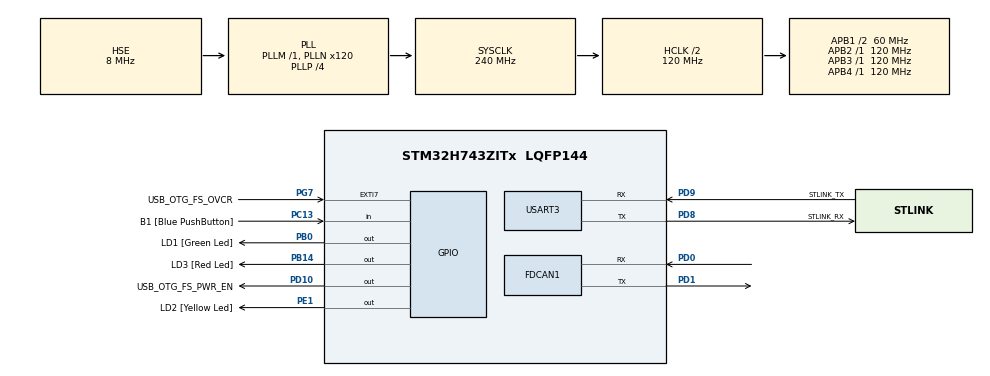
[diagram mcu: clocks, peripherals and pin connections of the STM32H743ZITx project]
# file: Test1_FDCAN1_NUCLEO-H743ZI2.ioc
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Mcu.Family=STM32H7
RCC.CortexFreq_Value=240000000
RCC.HPRE=RCC_HCLK_DIV2
PH0-OSC_IN\ (PH0).Signal=RCC_OSC_IN
PB14.GPIO_Label=LD3 [Red Led]
PC15-OSC32_OUT\ (OSC32_OUT).Mode=LSE-External-Oscillator
RCC.PLLFRACN=0
PB0.GPIO_Label=LD1 [Green Led]
RCC.PLL2FRACN=0
PC13.GPIO_Label=B1 [Blue PushButton]
PD9.Mode=Asynchronous
RCC.SYSCLKSource=RCC_SYSCLKSOURCE_PLLCLK
ProjectManager.StackSize=0x400
USART3.VirtualMode-Asynchronous=VM_ASYNC
RCC.HCLKFreq_Value=120000000
FDCAN1.RxFifo1ElmtSize=FDCAN_DATA_BYTES_64
PD0.Signal=FDCAN1_RX
PD8.Signal=USART3_TX
FDCAN1.FrameFormat=FDCAN_FRAME_FD_NO_BRS
PE1.Signal=GPIO_Output
RCC.HSE_VALUE=8000000
RCC.DIVM2=1
RCC.DIVM1=1
FDCAN1.StdFiltersNbr=1
FDCAN1.RxBufferSize=FDCAN_DATA_BYTES_64
PD1.GPIO_Speed=GPIO_SPEED_FREQ_VERY_HIGH
FDCAN1.NominalPrescaler=1
FDCAN1.NominalTimeSeg2=2
FDCAN1.NominalTimeSeg1=7
RCC.APB3Freq_Value=120000000
Mcu.Package=LQFP144
RCC.PLL3FRACN=0
FDCAN1.RxFifo0ElmtsNbr=2
PC14-OSC32_IN\ (OSC32_IN).Mode=LSE-External-Oscillator
RCC.APB4Freq_Value=120000000
PH0-OSC_IN\ (PH0).Mode=HSE-External-Clock-Source
NVIC.FDCAN1_IT0_IRQn=true\:0\:0\:false\:false\:true\:true\:true
RCC.PLLSourceVirtual=RCC_PLLSOURCE_HSE
RCC.DIVQ2=4
RCC.DIVQ1=24
PG7.Signal=GPXTI7
PD9.GPIO_Label=STLINK_TX
PC13.Signal=GPIO_Input
FDCAN1.ProtocolException=ENABLE
PD1.Signal=FDCAN1_TX
RCC.D2PPRE1=RCC_APB1_DIV2
PD9.Signal=USART3_RX
FDCAN1.RxFifo0ElmtSize=FDCAN_DATA_BYTES_64
RCC.DIVP1=4
RCC.PWR_Regulator_Voltage_Scale=PWR_REGULATOR_VOLTAGE_SCALE2
PH1-OSC_OUT\ (PH1).Signal=RCC_OSC_OUT
PD0.GPIO_Speed=GPIO_SPEED_FREQ_VERY_HIGH
PD8.GPIO_Label=STLINK_RX
PD10.Signal=GPIO_Output
ProjectManager.TargetToolchain=STM32CubeIDE
PC15-OSC32_OUT\ (OSC32_OUT).Signal=RCC_OSC32_OUT
RCC.DIVN2=20
RCC.DIVN1=120
RCC.USBFreq_Value=40000000
PD10.GPIO_Label=USB_OTG_FS_PWR_EN
PD8.Mode=Asynchronous
PB14.Signal=GPIO_Output
board=NUCLEO-H743ZI2
PE1.GPIO_Label=LD2 [Yellow Led]
PD1.Mode=FDCAN_Activate
FDCAN1.AutoRetransmission=ENABLE
RCC.APB2Freq_Value=120000000
PG7.GPIO_Label=USB_OTG_FS_OVCR
RCC.ADCFreq_Value=80000000
Mcu.Name=STM32H743ZITx
PD0.Mode=FDCAN_Activate
FDCAN1.NominalSyncJumpWidth=1
RCC.SYSCLKFreq_VALUE=240000000
PC14-OSC32_IN\ (OSC32_IN).Signal=RCC_OSC32_IN
ProjectManager.HeapSize=0x200
NVIC.PriorityGroup=NVIC_PRIORITYGROUP_4
RCC.APB1Freq_Value=60000000
PB0.Signal=GPIO_Output
FDCAN1.TxFifoQueueElmtsNbr=2
FDCAN1.TxElmtSize=FDCAN_DATA_BYTES_64

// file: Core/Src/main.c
/* USER CODE BEGIN Header */
/**
  ******************************************************************************
  * @file           : main.c
  * @brief          : Main program body
  ******************************************************************************
  * @attention
  *
  * <h2><center>&copy; Copyright (c) 2021 STMicroelectronics.
  * All rights reserved.</center></h2>
  *
  * This software component is licensed by ST under BSD 3-Clause license,
  * the "License"; You may not use this file except in compliance with the
  * License. You may obtain a copy of the License at:
  *                        opensource.org/licenses/BSD-3-Clause
  *
  ******************************************************************************
  */
/* USER CODE END Header */
#include "main.h"

/* USER CODE BEGIN PTD */
#define ELEMS(p) (sizeof(p)/sizeof(p[0]))
/* USER CODE END PTD */

FDCAN_HandleTypeDef hfdcan1;

UART_HandleTypeDef huart3;

/* USER CODE BEGIN PV */

volatile unsigned long int Licznikms;
volatile uint16_t Timer_sys[6];
volatile unsigned long int uwTickms;
volatile unsigned int Tickms;
//volatile unsigned long int Ticks;
volatile unsigned long int g_COUNT_SEC;

uint32_t g_CAN_Error;
HAL_FDCAN_StateTypeDef g_CAN_State;
FDCAN_RxHeaderTypeDef RxHeader;
uint8_t RxData[64];
FDCAN_TxHeaderTypeDef TxHeader;
uint8_t TxData[64];

HAL_StatusTypeDef myState;
uint8_t myTxData[64];
uint32_t my_Data_Can;

/* USER CODE END PV */

void SystemClock_Config(void);
static void MX_GPIO_Init(void);
static void MX_USART3_UART_Init(void);
static void MX_FDCAN1_Init(void);

int main(void)
{

  /* MCU Configuration--------------------------------------------------------*/

  /* Reset of all peripherals, Initializes the Flash interface and the Systick. */
  HAL_Init();

  /* Configure the system clock */
  SystemClock_Config();

  /* Initialize all configured peripherals */
  MX_GPIO_Init();
  MX_USART3_UART_Init();
  MX_FDCAN1_Init();

  /* Infinite loop */
  while (1)
  {

    /* USER CODE BEGIN 3 */
	  if (Timer_sys[1] == 0)
	  {
		 Timer_sys[1] = 100;
		 HAL_GPIO_TogglePin(LD2_GPIO_Port,LD2_Pin);
		  my_Data_Can++;
		  myTxData[0] = my_Data_Can;
		  myTxData[1] = my_Data_Can >> 8;
		  myTxData[2] = my_Data_Can >> 16;
		  myTxData[3] = my_Data_Can >> 24;
		  myTxData[63]++;
		  HAL_FDCAN_AddMessageToTxFifoQ(&hfdcan1, &TxHeader, myTxData);
		  g_CAN_Error = HAL_FDCAN_GetError(&hfdcan1);
		  g_CAN_State = HAL_FDCAN_GetState(&hfdcan1);
		  if (g_CAN_Error != 0) HAL_GPIO_TogglePin(LD3_GPIO_Port,LD3_Pin);

	  }
  }
  /* USER CODE END 3 */
}

void SystemClock_Config(void)
{
  RCC_OscInitTypeDef RCC_OscInitStruct = {0};
  RCC_ClkInitTypeDef RCC_ClkInitStruct = {0};

  /** Supply configuration update enable
  */
  HAL_PWREx_ConfigSupply(PWR_LDO_SUPPLY);
  /** Configure the main internal regulator output voltage
  */
  __HAL_PWR_VOLTAGESCALING_CONFIG(PWR_REGULATOR_VOLTAGE_SCALE2);

  while(!__HAL_PWR_GET_FLAG(PWR_FLAG_VOSRDY)) {}
  /** Initializes the RCC Oscillators according to the specified parameters
  * in the RCC_OscInitTypeDef structure.
  */
  RCC_OscInitStruct.OscillatorType = RCC_OSCILLATORTYPE_HSE;
  RCC_OscInitStruct.HSEState = RCC_HSE_BYPASS;
  RCC_OscInitStruct.PLL.PLLState = RCC_PLL_ON;
  RCC_OscInitStruct.PLL.PLLSource = RCC_PLLSOURCE_HSE;
  RCC_OscInitStruct.PLL.PLLM = 1;
  RCC_OscInitStruct.PLL.PLLN = 120;
  RCC_OscInitStruct.PLL.PLLP = 4;
  RCC_OscInitStruct.PLL.PLLQ = 24;
  RCC_OscInitStruct.PLL.PLLR = 2;
  RCC_OscInitStruct.PLL.PLLRGE = RCC_PLL1VCIRANGE_3;
  RCC_OscInitStruct.PLL.PLLVCOSEL = RCC_PLL1VCOWIDE;
  RCC_OscInitStruct.PLL.PLLFRACN = 0;
  if (HAL_RCC_OscConfig(&RCC_OscInitStruct) != HAL_OK)
  {
    Error_Handler();
  }
  /** Initializes the CPU, AHB and APB buses clocks
  */
  RCC_ClkInitStruct.ClockType = RCC_CLOCKTYPE_HCLK|RCC_CLOCKTYPE_SYSCLK
                              |RCC_CLOCKTYPE_PCLK1|RCC_CLOCKTYPE_PCLK2
                              |RCC_CLOCKTYPE_D3PCLK1|RCC_CLOCKTYPE_D1PCLK1;
  RCC_ClkInitStruct.SYSCLKSource = RCC_SYSCLKSOURCE_PLLCLK;
  RCC_ClkInitStruct.SYSCLKDivider = RCC_SYSCLK_DIV1;
  RCC_ClkInitStruct.AHBCLKDivider = RCC_HCLK_DIV2;
  RCC_ClkInitStruct.APB3CLKDivider = RCC_APB3_DIV1;
  RCC_ClkInitStruct.APB1CLKDivider = RCC_APB1_DIV2;
  RCC_ClkInitStruct.APB2CLKDivider = RCC_APB2_DIV1;
  RCC_ClkInitStruct.APB4CLKDivider = RCC_APB4_DIV1;

  if (HAL_RCC_ClockConfig(&RCC_ClkInitStruct, FLASH_LATENCY_2) != HAL_OK)
  {
    Error_Handler();
  }
}

static void MX_FDCAN1_Init(void)
{

  hfdcan1.Instance = FDCAN1;
  hfdcan1.Init.FrameFormat = FDCAN_FRAME_FD_NO_BRS;
  hfdcan1.Init.Mode = FDCAN_MODE_NORMAL;
  hfdcan1.Init.AutoRetransmission = ENABLE;
  hfdcan1.Init.TransmitPause = DISABLE;
  hfdcan1.Init.ProtocolException = ENABLE;
  hfdcan1.Init.NominalPrescaler = 1;
  hfdcan1.Init.NominalSyncJumpWidth = 1;
  hfdcan1.Init.NominalTimeSeg1 = 7;
  hfdcan1.Init.NominalTimeSeg2 = 2;
  hfdcan1.Init.DataPrescaler = 1;
  hfdcan1.Init.DataSyncJumpWidth = 1;
  hfdcan1.Init.DataTimeSeg1 = 1;
  hfdcan1.Init.DataTimeSeg2 = 1;
  hfdcan1.Init.MessageRAMOffset = 0;
  hfdcan1.Init.StdFiltersNbr = 1;
  hfdcan1.Init.ExtFiltersNbr = 0;
  hfdcan1.Init.RxFifo0ElmtsNbr = 1;
  hfdcan1.Init.RxFifo0ElmtSize = FDCAN_DATA_BYTES_64;
  hfdcan1.Init.RxFifo1ElmtsNbr = 0;
  hfdcan1.Init.RxFifo1ElmtSize = FDCAN_DATA_BYTES_64;
  hfdcan1.Init.RxBuffersNbr = 0;
  hfdcan1.Init.RxBufferSize = FDCAN_DATA_BYTES_64;
  hfdcan1.Init.TxEventsNbr = 0;
  hfdcan1.Init.TxBuffersNbr = 0;
  hfdcan1.Init.TxFifoQueueElmtsNbr = 1;
  hfdcan1.Init.TxFifoQueueMode = FDCAN_TX_FIFO_OPERATION;
  hfdcan1.Init.TxElmtSize = FDCAN_DATA_BYTES_64;
  if (HAL_FDCAN_Init(&hfdcan1) != HAL_OK)
  {
    Error_Handler();
  }
  /* USER CODE BEGIN FDCAN1_Init 2 */

  FDCAN_FilterTypeDef sFilterConfig;

  /* Configure Rx filter */
  sFilterConfig.IdType = FDCAN_STANDARD_ID;
  sFilterConfig.FilterIndex = 0;
  sFilterConfig.FilterType = FDCAN_FILTER_MASK;
  sFilterConfig.FilterConfig = FDCAN_FILTER_TO_RXFIFO0;
  sFilterConfig.FilterID1 = 0x222;
  sFilterConfig.FilterID2 = 0x7FF;
  if (HAL_FDCAN_ConfigFilter(&hfdcan1, &sFilterConfig) != HAL_OK)
  {
    /* Filter configuration Error */
    Error_Handler();
  }

  /* Configure global filter to reject all non-matching frames */
  HAL_FDCAN_ConfigGlobalFilter(&hfdcan1, FDCAN_REJECT, FDCAN_REJECT, FDCAN_REJECT_REMOTE, FDCAN_REJECT_REMOTE);

  /* Configure Rx FIFO 0 watermark to 2 */
  HAL_FDCAN_ConfigFifoWatermark(&hfdcan1, FDCAN_CFG_RX_FIFO0, 1);

  /* Activate Rx FIFO 0 watermark notification */
  if (HAL_FDCAN_ActivateNotification(&hfdcan1, FDCAN_IT_RX_FIFO0_WATERMARK, 0) != HAL_OK)
  {
    /* Notification Error */
    Error_Handler();
  }

  /* Prepare Tx Header */
  TxHeader.Identifier = 0x111;
  TxHeader.IdType = FDCAN_STANDARD_ID;
  TxHeader.TxFrameType = FDCAN_DATA_FRAME;
  TxHeader.DataLength = FDCAN_DLC_BYTES_64;
  TxHeader.ErrorStateIndicator = FDCAN_ESI_ACTIVE;
  TxHeader.BitRateSwitch = FDCAN_BRS_OFF;
  TxHeader.FDFormat = FDCAN_FD_CAN;
  TxHeader.TxEventFifoControl = FDCAN_NO_TX_EVENTS;
  TxHeader.MessageMarker = 0;

   /* Start the FDCAN module */
  if (HAL_FDCAN_Start(&hfdcan1) != HAL_OK)
  {
    /* Start Error */
    Error_Handler();
  }

  /* USER CODE END FDCAN1_Init 2 */

}

static void MX_USART3_UART_Init(void)
{

  huart3.Instance = USART3;
  huart3.Init.BaudRate = 115200;
  huart3.Init.WordLength = UART_WORDLENGTH_8B;
  huart3.Init.StopBits = UART_STOPBITS_1;
  huart3.Init.Parity = UART_PARITY_NONE;
  huart3.Init.Mode = UART_MODE_TX_RX;
  huart3.Init.HwFlowCtl = UART_HWCONTROL_NONE;
  huart3.Init.OverSampling = UART_OVERSAMPLING_16;
  huart3.Init.OneBitSampling = UART_ONE_BIT_SAMPLE_DISABLE;
  huart3.Init.ClockPrescaler = UART_PRESCALER_DIV1;
  huart3.AdvancedInit.AdvFeatureInit = UART_ADVFEATURE_NO_INIT;
  if (HAL_UART_Init(&huart3) != HAL_OK)
  {
    Error_Handler();
  }
  if (HAL_UARTEx_SetTxFifoThreshold(&huart3, UART_TXFIFO_THRESHOLD_1_8) != HAL_OK)
  {
    Error_Handler();
  }
  if (HAL_UARTEx_SetRxFifoThreshold(&huart3, UART_RXFIFO_THRESHOLD_1_8) != HAL_OK)
  {
    Error_Handler();
  }
  if (HAL_UARTEx_DisableFifoMode(&huart3) != HAL_OK)
  {
    Error_Handler();
  }

}

static void MX_GPIO_Init(void)
{
  GPIO_InitTypeDef GPIO_InitStruct = {0};

  /* GPIO Ports Clock Enable */
  __HAL_RCC_GPIOC_CLK_ENABLE();
  __HAL_RCC_GPIOH_CLK_ENABLE();
  __HAL_RCC_GPIOB_CLK_ENABLE();
  __HAL_RCC_GPIOD_CLK_ENABLE();
  __HAL_RCC_GPIOG_CLK_ENABLE();
  __HAL_RCC_GPIOE_CLK_ENABLE();

  /*Configure GPIO pin Output Level */
  HAL_GPIO_WritePin(GPIOB, LD1_Pin|LD3_Pin, GPIO_PIN_RESET);

  /*Configure GPIO pin Output Level */
  HAL_GPIO_WritePin(USB_OTG_FS_PWR_EN_GPIO_Port, USB_OTG_FS_PWR_EN_Pin, GPIO_PIN_RESET);

  /*Configure GPIO pin Output Level */
  HAL_GPIO_WritePin(LD2_GPIO_Port, LD2_Pin, GPIO_PIN_RESET);

  /*Configure GPIO pin : B1_Pin */
  GPIO_InitStruct.Pin = B1_Pin;
  GPIO_InitStruct.Mode = GPIO_MODE_INPUT;
  GPIO_InitStruct.Pull = GPIO_NOPULL;
  HAL_GPIO_Init(B1_GPIO_Port, &GPIO_InitStruct);

  /*Configure GPIO pins : LD1_Pin LD3_Pin */
  GPIO_InitStruct.Pin = LD1_Pin|LD3_Pin;
  GPIO_InitStruct.Mode = GPIO_MODE_OUTPUT_PP;
  GPIO_InitStruct.Pull = GPIO_NOPULL;
  GPIO_InitStruct.Speed = GPIO_SPEED_FREQ_LOW;
  HAL_GPIO_Init(GPIOB, &GPIO_InitStruct);

  /*Configure GPIO pin : USB_OTG_FS_PWR_EN_Pin */
  GPIO_InitStruct.Pin = USB_OTG_FS_PWR_EN_Pin;
  GPIO_InitStruct.Mode = GPIO_MODE_OUTPUT_PP;
  GPIO_InitStruct.Pull = GPIO_NOPULL;
  GPIO_InitStruct.Speed = GPIO_SPEED_FREQ_LOW;
  HAL_GPIO_Init(USB_OTG_FS_PWR_EN_GPIO_Port, &GPIO_InitStruct);

  /*Configure GPIO pin : USB_OTG_FS_OVCR_Pin */
  GPIO_InitStruct.Pin = USB_OTG_FS_OVCR_Pin;
  GPIO_InitStruct.Mode = GPIO_MODE_IT_RISING;
  GPIO_InitStruct.Pull = GPIO_NOPULL;
  HAL_GPIO_Init(USB_OTG_FS_OVCR_GPIO_Port, &GPIO_InitStruct);

  /*Configure GPIO pin : LD2_Pin */
  GPIO_InitStruct.Pin = LD2_Pin;
  GPIO_InitStruct.Mode = GPIO_MODE_OUTPUT_PP;
  GPIO_InitStruct.Pull = GPIO_NOPULL;
  GPIO_InitStruct.Speed = GPIO_SPEED_FREQ_LOW;
  HAL_GPIO_Init(LD2_GPIO_Port, &GPIO_InitStruct);

}

/* USER CODE BEGIN 4 */

/**
  * @brief  Rx FIFO 0 callback.
  * @param  hfdcan: pointer to an FDCAN_HandleTypeDef structure that contains
  *         the configuration information for the specified FDCAN.
  * @param  RxFifo0ITs: indicates which Rx FIFO 0 interrupts are signalled.
  *                     This parameter can be any combination of @arg FDCAN_Rx_Fifo0_Interrupts.
  * @retval None
  */
void HAL_FDCAN_RxFifo0Callback(FDCAN_HandleTypeDef *hfdcan, uint32_t RxFifo0ITs)
{
  if((RxFifo0ITs & FDCAN_IT_RX_FIFO0_WATERMARK) != RESET)
  {
    /* Retrieve Rx messages from RX FIFO0 */
    if (HAL_FDCAN_GetRxMessage(hfdcan, FDCAN_RX_FIFO0, &RxHeader, RxData) != HAL_OK)
    {
    /* Reception Error */
    Error_Handler();
    }

    //HAL_GPIO_TogglePin(LD3_GPIO_Port,LD3_Pin);

    /* Display LEDx */
    if ((RxHeader.Identifier == 0x222) && (RxHeader.IdType == FDCAN_STANDARD_ID) && (RxHeader.DataLength == FDCAN_DLC_BYTES_64))
    {
      //LED_Display(RxData[0]);
      //ubKeyNumber = RxData[0];
    	HAL_GPIO_TogglePin(LD1_GPIO_Port,LD1_Pin);
    }

  }
}

void HAL_SYSTICK_Callback(void)
{
	uint16_t t_timer;
	uint8_t i;

	Licznikms++;                        /* increment counter necessary in Delay() */
	uwTickms++;
	Tickms++;

	if (Tickms >= 1000)
	{
		Tickms = 0;
		//Ticks++;
		g_COUNT_SEC++;
	}

	// obsluga timerow systemowych
	for (i = 0; i< ELEMS(Timer_sys); i++)
	{
		t_timer = Timer_sys[i];
		if (t_timer) Timer_sys[i] = --t_timer;

	}
}

/* USER CODE END 4 */

void Error_Handler(void)
{
  __disable_irq();
  while (1)
  {
  }
}

/************************ (C) COPYRIGHT STMicroelectronics *****END OF FILE****/
